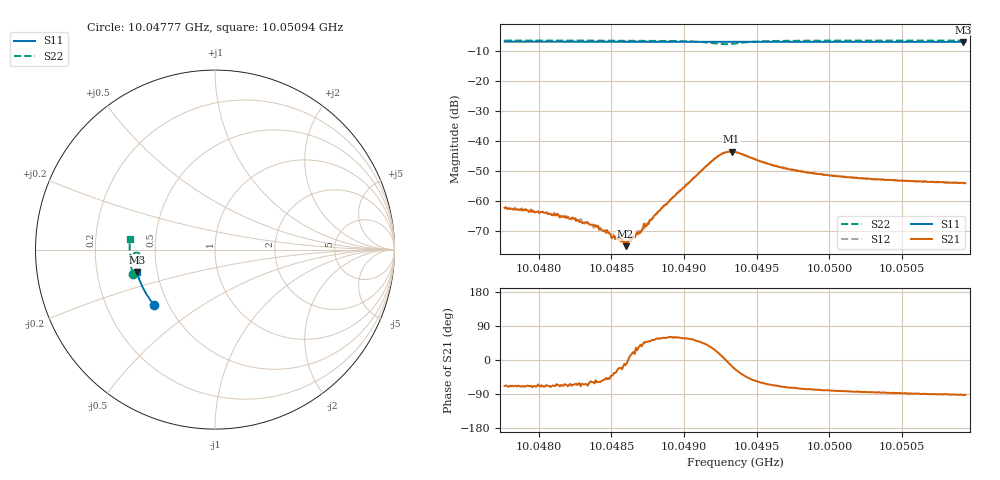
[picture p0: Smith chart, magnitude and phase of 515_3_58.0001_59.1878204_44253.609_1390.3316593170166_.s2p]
#  HZ  S  RI  R  50.00
! Rohde & Schwarz Vector Network Analyzer
! Rohde-Schwarz,ZNB20-2Port,1311601062101988,3.16
! Created: UTC 3/21/2024, 1:13:22 AM
! freq[Hz]  re:S11  im:S11  re:S21  im:S21  re:S12  im:S12  re:S22  im:S22
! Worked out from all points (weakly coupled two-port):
!   401 points, 10.04777 GHz to 10.05094 GHz, reference 50 ohm
!   highest |S21| = -43.52 dB at 10.04933 GHz (marker M1); lowest = -75.1 dB at 10.0486 GHz (marker M2)
!   lowest |S11| = -6.9 dB at 10.05092 GHz (marker M3), VSWR 2.65, Z = 19.2 - j6.12 ohm
!   |S11| at or under -10 dB: nowhere
!   |S22| runs from -7.6 to -6.4 dB; largest |S21 - S12| = 0.0005
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1.0047765e10  -0.3384 -0.3082  0.000282 -0.000711  0.000338 -0.000689  -0.4592 -0.1337
1.0047979e10  -0.3474 -0.2971  0.000221 -0.000611  0.000291 -0.000628  -0.4628 -0.1191
1.0048122e10  -0.3532 -0.2899  0.000259 -0.000526  0.000271 -0.000527  -0.4648 -0.1092
1.0048233e10  -0.3576 -0.2841  0.000217 -0.000481  0.000227 -0.000461  -0.4663 -0.1014
1.0048296e10  -0.3601 -0.2808  0.0002 -0.000388  0.000211 -0.000414  -0.467 -0.0968
1.0048391e10  -0.3638 -0.2755  0.000232 -0.000314  0.000246 -0.000329  -0.4679 -0.0899
1.0048431e10  -0.3654 -0.2735  0.000189 -0.000271  0.000224 -0.000254  -0.4684 -0.0869
1.0048471e10  -0.3668 -0.2714  0.000205 -0.000253  0.000214 -0.000223  -0.4688 -0.0837
1.0048518e10  -0.3686 -0.2687  0.000212 -0.000142  0.0002 -0.000164  -0.4689 -0.0801
1.0048598e10  -0.3715 -0.2644  0.000171 -4.09e-05  0.000225 -2.45e-05  -0.4695 -0.0736
1.0048621e10  -0.3724 -0.2633  0.000216 1.95e-05  0.000224 3.7e-05  -0.4696 -0.0718
1.0048701e10  -0.3753 -0.2587  0.000226 0.000189  0.000228 0.000213  -0.4696 -0.065
1.0048827e10  -0.3797 -0.2517  0.00038 0.000561  0.000334 0.000595  -0.4689 -0.0532
1.0049208e10  -0.392 -0.2299  0.00442 0.00234  0.00431 0.00259  -0.4292 -0.0176
1.0049271e10  -0.3937 -0.2264  0.00624 0.00067  0.00621 0.00105  -0.4143 -0.0319
1.0049327e10  -0.3954 -0.2235  0.00642 -0.00178  0.00655 -0.00134  -0.4161 -0.0519
1.0049351e10  -0.3961 -0.2221  0.00598 -0.00268  0.0062 -0.00223  -0.4213 -0.0581
1.0049628e10  -0.4047 -0.2061  0.00148 -0.00355  0.00169 -0.00349  -0.4671 -0.0428
1.0049882e10  -0.4116 -0.1908  0.000659 -0.00287  0.000761 -0.00282  -0.474 -0.0181
1.0050413e10  -0.4243 -0.1583  0.000131 -0.00224  0.000242 -0.00223  -0.4754 0.023
1.005092e10  -0.434 -0.1267  -7.94e-05 -0.00199  3.8e-05 -0.00197  -0.4724 0.0584
1.0050936e10  -0.4344 -0.1258  -6.01e-05 -0.00197  4.53e-06 -0.00197  -0.4721 0.0594
